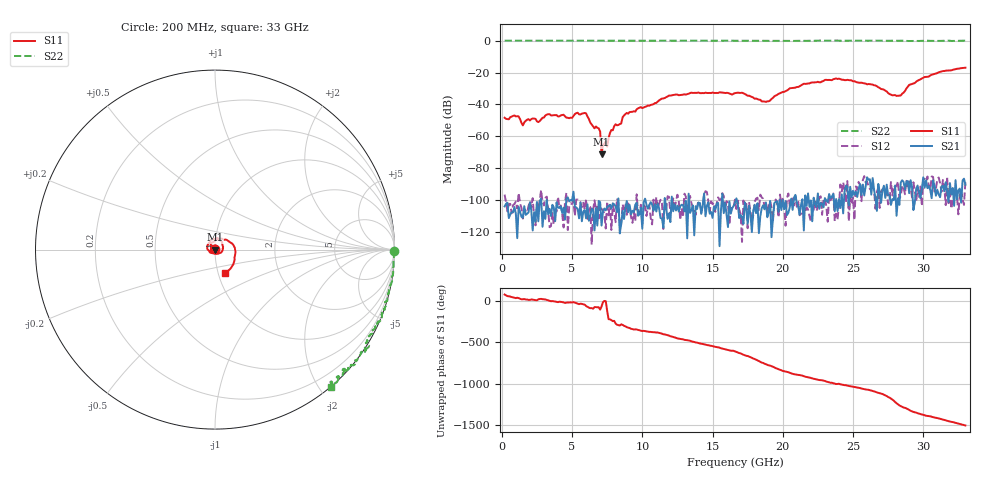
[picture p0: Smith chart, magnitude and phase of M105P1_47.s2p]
# GHZ S RI R 50
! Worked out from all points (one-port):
!   329 points, 200 MHz to 33 GHz, reference 50 ohm
!   lowest |S11| = -71.2 dB at 7.1 GHz (marker M1), VSWR 1.00, Z = 50 - j0.0248 ohm
!   |S11| at or under -10 dB: start of sweep to end of sweep
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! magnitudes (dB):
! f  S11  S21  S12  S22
! 200 MHz  -48.3  -103.9  -96.5  0.0
! 1.2 GHz  -47.5  -104.1  -95.5  0.0
! 1.5 GHz  -53.1  -111.0  -111.6  0.0
! 3.3 GHz  -46.1  -108.9  -106.0  0.0
! 5.7 GHz  -45.7  -113.2  -104.4  0.0
! 6.9 GHz  -55.0  -100.5  -111.5  0.0
! 7 GHz  -56.9  -101.2  -102.6  0.0
! 7.1 GHz  -71.2  -115.9  -106.0  0.0
! 7.2 GHz  -65.3  -107.1  -105.9  0.0
! 7.5 GHz  -66.4  -104.5  -100.8  0.0
! 7.8 GHz  -56.0  -105.2  -118.7  0.0
! 8.5 GHz  -51.9  -115.0  -114.9  0.0
! 8.8 GHz  -46.0  -104.6  -102.7  0.0
! 11.2 GHz  -37.4  -105.3  -102.0  0.0
! 16.6 GHz  -32.9  -101.9  -99.7  -0.1
! 18.8 GHz  -38.4  -101.4  -104.1  -0.1
! 22.1 GHz  -26.2  -113.2  -106.2  -0.1
! 24.9 GHz  -24.9  -98.1  -102.7  0.0
! 27.6 GHz  -33.5  -97.1  -100.6  -0.1
! 28.4 GHz  -34.4  -88.9  -97.5  0.0
! 30.1 GHz  -22.8  -92.3  -86.5  -0.1
! 33 GHz  -17.0  -90.3  -88.2  0.0
